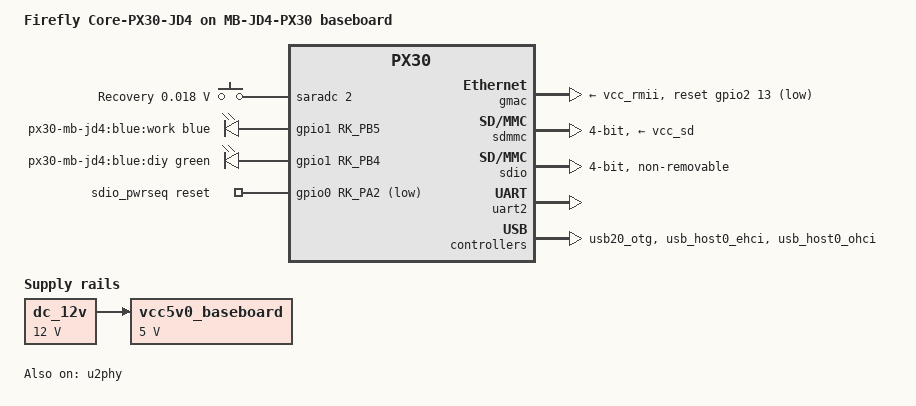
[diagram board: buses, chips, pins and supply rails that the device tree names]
// SPDX-License-Identifier: (GPL-2.0+ OR MIT)
/*
 * Copyright (c) 2019 Fuzhou Rockchip Electronics Co., Ltd
 */

/dts-v1/;
#include <dt-bindings/input/input.h>
#include <dt-bindings/leds/common.h>
#include "px30-firefly-jd4-core.dtsi"

/ {
	compatible = "firefly,px30-jd4-core-mb", "firefly,px30-jd4-core",
		   "rockchip,px30";
	model = "Firefly Core-PX30-JD4 on MB-JD4-PX30 baseboard";

	aliases {
		ethernet0 = &gmac;
		mmc0 = &sdmmc;
		mmc1 = &sdio;
		mmc2 = &emmc;
	};

	chosen {
		stdout-path = "serial2:115200n8";
	};

	dc_12v: regulator-dc-12v {
		compatible = "regulator-fixed";
		regulator-name = "dc_12v";
		regulator-always-on;
		regulator-boot-on;
		regulator-min-microvolt = <12000000>;
		regulator-max-microvolt = <12000000>;
	};

	adc-keys {
		compatible = "adc-keys";
		io-channels = <&saradc 2>;
		io-channel-names = "buttons";
		keyup-threshold-microvolt = <1500000>;
		poll-interval = <100>;

		button-recovery {
			label = "Recovery";
			linux,code = <KEY_VENDOR>;
			press-threshold-microvolt = <18000>;
		};
	};

	leds {
		compatible = "gpio-leds";
		pinctrl-names = "default";
		pinctrl-0 = <&blue_led>, <&green_led>;

		blue-led {
			color = <LED_COLOR_ID_BLUE>;
			default-state = "on";
			function = LED_FUNCTION_HEARTBEAT;
			gpios = <&gpio1 RK_PB5 GPIO_ACTIVE_HIGH>;
			label = "px30-mb-jd4:blue:work";
			linux,default-trigger = "heartbeat";
		};

		green-led {
			color = <LED_COLOR_ID_GREEN>;
			default-state = "on";
			function = LED_FUNCTION_POWER;
			gpios = <&gpio1 RK_PB4 GPIO_ACTIVE_HIGH>;
			label = "px30-mb-jd4:blue:diy";
			linux,default-trigger = "default-on";
		};
	};

	sdio_pwrseq: sdio-pwrseq {
		compatible = "mmc-pwrseq-simple";
		pinctrl-names = "default";
		pinctrl-0 = <&wifi_enable_h>;

		/*
		 * On the module itself this is one of these (depending
		 * on the actual card populated):
		 * - SDIO_RESET_L_WL_REG_ON
		 * - PDN (power down when low)
		 */
		reset-gpios = <&gpio0 RK_PA2 GPIO_ACTIVE_LOW>; /* GPIO3_A4 */
	};

	vcc5v0_baseboard: regulator-vcc5v0-baseboard {
		compatible = "regulator-fixed";
		regulator-name = "vcc5v0_baseboard";
		regulator-always-on;
		regulator-boot-on;
		regulator-min-microvolt = <5000000>;
		regulator-max-microvolt = <5000000>;
		vin-supply = <&dc_12v>;
	};
};

&gmac {
	clock_in_out = "output";
	phy-supply = <&vcc_rmii>;
	snps,reset-gpio = <&gpio2 13 GPIO_ACTIVE_LOW>;
	snps,reset-active-low;
	snps,reset-delays-us = <0 50000 50000>;
	status = "okay";
};

&pinctrl {
	leds {
		blue_led: blue-led {
			rockchip,pins = <1 RK_PB5 RK_FUNC_GPIO &pcfg_pull_none>;
		};

		green_led: green-led {
			rockchip,pins = <1 RK_PB4 RK_FUNC_GPIO &pcfg_pull_none>;
		};
	};

	sdio-pwrseq {
		wifi_enable_h: wifi-enable-h {
			rockchip,pins =
				<0 RK_PA2 RK_FUNC_GPIO &pcfg_pull_none>;
		};
	};
};

&sdmmc {
	bus-width = <4>;
	cap-mmc-highspeed;
	cap-sd-highspeed;
	card-detect-delay = <800>;
	sd-uhs-sdr12;
	sd-uhs-sdr25;
	sd-uhs-sdr50;
	sd-uhs-sdr104;
	vmmc-supply = <&vcc_sd>;
	vqmmc-supply = <&vccio_sd>;
	status = "okay";
};

&sdio {
	bus-width = <4>;
	cap-sd-highspeed;
	keep-power-in-suspend;
	non-removable;
	mmc-pwrseq = <&sdio_pwrseq>;
	sd-uhs-sdr104;
	status = "okay";
};

&u2phy {
	status = "okay";

	u2phy_host: host-port {
		status = "okay";
	};

	u2phy_otg: otg-port {
		status = "okay";
	};
};

&uart2 {
	pinctrl-names = "default";
	pinctrl-0 = <&uart2m1_xfer>;
	status = "okay";
};

&usb20_otg {
	status = "okay";
};

&usb_host0_ehci {
	status = "okay";
};

&usb_host0_ohci {
	status = "okay";
};
